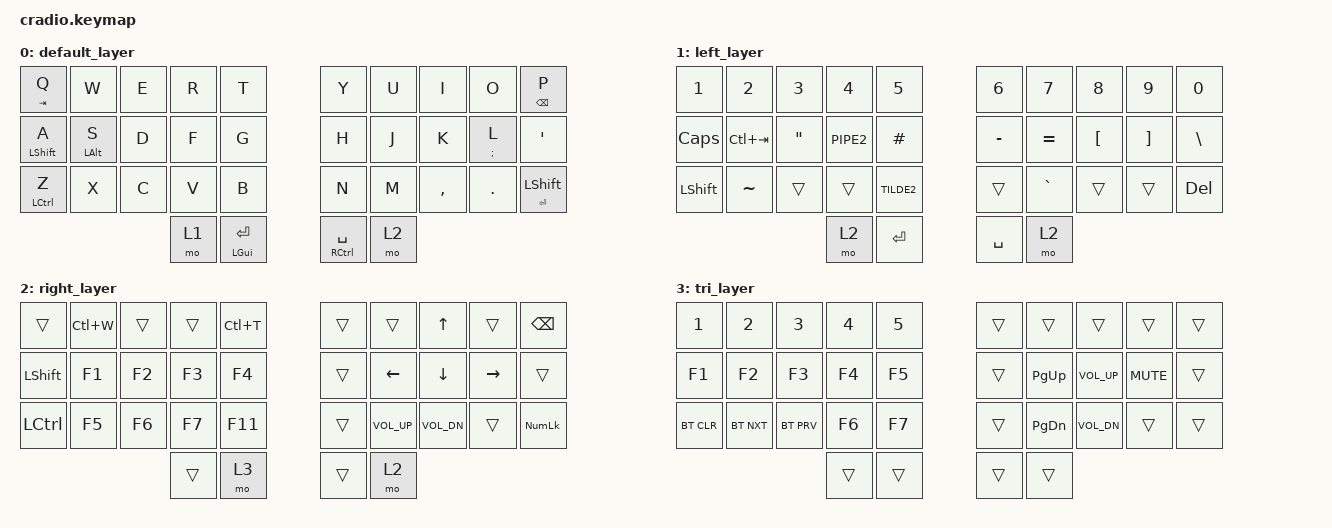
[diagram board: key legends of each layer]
/*
 * Copyright (c) 2020 The ZMK Contributors
 *
 * SPDX-License-Identifier: MIT
 */

#include <behaviors.dtsi>
#include <dt-bindings/zmk/keys.h>
#include <dt-bindings/zmk/bt.h>


&mt {
  //  flavor = "tap-preferred";
   // tapping_term_ms = <400>;
};

/ { 

    combos {
        compatible = "zmk,combos";
        combo_esc {
            timeout-ms = <50>;
            key-positions = <0 1>;
            bindings = <&kp ESC>;
        };
        
         combo_tab {
            timeout-ms = <50>;
            key-positions = <10 11>;
            bindings = <&kp TAB>;
        };
        
            combo_ralt {
            timeout-ms = <50>;
            key-positions = <17 16>;
            bindings = <&kp RALT>;
        };
        
                    combo_lalt {
            timeout-ms = <50>;
            key-positions = <11 12>;
            bindings = <&kp LALT>;
        };
        
                           combo_lgui {
            timeout-ms = <50>;
            key-positions = <12 13>;
            bindings = <&kp LGUI>;
        };
        
        
           combo_rgui {
            timeout-ms = <50>;
            key-positions = <17 18>;
            bindings = <&kp RGUI>;
        };
        

        
    };

        keymap {
                compatible = "zmk,keymap";
                
       		default_layer {
		bindings = <
		&mt TAB Q &kp W &kp E &kp R &kp T 						&kp Y &kp U  &kp I    &kp O   &mt BSPC P
		&mt LSHFT A &mt LALT S &kp D &kp F &kp G 			        	   &kp H &kp J &kp K &mt SEMI L &kp QUOT
		&mt LCTRL Z &kp X &kp C &kp V &kp B				        &kp N &kp M  &kp CMMA &kp DOT &mt ENTER LSHFT
          				&mo 1 &mt LGUI ENTER			&mt RCTRL SPC &mo 2 
		>;
		};

       		left_layer {
		bindings = <
		&kp NUM_1 &kp NUM_2 &kp NUM_3 &kp NUM_4 &kp NUM_5		     &kp NUM_6 &kp NUM_7 &kp NUM_8 &kp NUM_9 &kp NUM_0 
		&kp CAPS &kp LC(TAB) &kp DQT &kp PIPE2 &kp HASH 		     &kp MINUS &kp EQL  &kp LBKT &kp RBKT &kp BSLH
		&kp LSHFT &kp TILDE &trans &trans &kp TILDE2 	     &trans &kp GRAVE &trans &trans &kp DEL 
					            &mo 2  &kp ENTER 		     &kp SPC &mo 2 
		>;
		};
		
		right_layer {
		bindings = <
		&trans  &kp LC(W) &trans  &trans  &kp LC(T)    			&trans  &trans &kp UP &trans &kp BSPC 
		&kp LSHFT  &kp F1  &kp F2  &kp F3  &kp F4 				&trans &kp LEFT &kp DOWN  &kp RIGHT  &trans
		&kp LCTRL  &kp F5 &kp F6 &kp F7   &kp F11    			&trans &kp C_VOL_UP &kp C_VOL_DN &trans &kp KP_NUM
					  &trans &mo 3  				&trans  &mo 2 
		>;
		};	
		
		tri_layer {
		bindings = <
		&kp NUM_1  &kp NUM_2    &kp NUM_3    &kp NUM_4    &kp NUM_5 			&trans &trans   &trans   &trans  &trans
		&kp F1 &kp F2 &kp F3 &kp F4 &kp F5  						&trans &kp PG_UP  &kp K_VOL_UP &kp K_MUTE &trans 
		&bt BT_CLR  &bt BT_NXT &bt BT_PRV &kp F6 &kp F7   				&trans &kp PG_DN  &kp K_VOL_DN  &trans &trans   
					 &trans &trans  					&trans &trans 
		>;
		};	
        
	};
};
